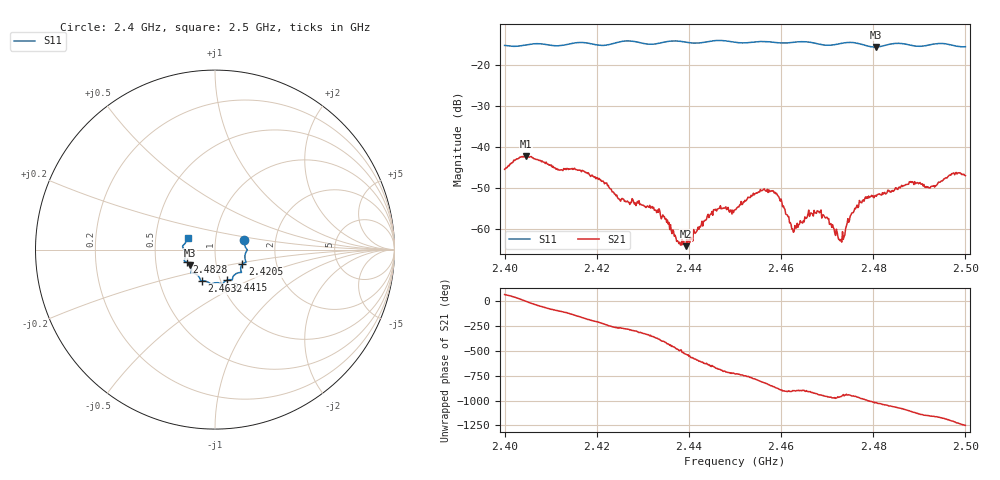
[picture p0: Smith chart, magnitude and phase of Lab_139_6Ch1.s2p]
# Hz S RI R 50
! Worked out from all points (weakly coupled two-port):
!   601 points, 2.4 GHz to 2.5 GHz, reference 50 ohm
!   highest |S21| = -42.32 dB at 2.4047 GHz (marker M1); lowest = -64.3 dB at 2.4393 GHz (marker M2)
!   lowest |S11| = -15.7 dB at 2.4805 GHz (marker M3), VSWR 1.39, Z = 37.3 - j6.7 ohm
!   |S11| at or under -10 dB: start of sweep to end of sweep
!   S12 and S22 are empty: the file has one direction only
!   S11 on the Smith chart (normalised r, x): 2.4 GHz: 1.38, +0.15; 2.4205 GHz: 1.34, -0.23; 2.4415 GHz: 1.07, -0.38; 2.4632 GHz: 0.82, -0.29; 2.4828 GHz: 0.72, -0.10; 2.5 GHz: 0.73, +0.10
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2.4e9  0.1637 0.052  0.00202 0.00489  0 0  0 0
2.404667e9  0.1745 0.00579  0.00766 -3.72e-05  0 0  0 0
2.416667e9  0.1729 -0.07  -0.00467 -0.0016  0 0  0 0
2.4205e9  0.1522 -0.0816  -0.00348 0.00215  0 0  0 0
2.425e9  0.1461 -0.1217  -0.000174 0.00223  0 0  0 0
2.433333e9  0.1002 -0.1515  0.00148 -0.000544  0 0  0 0
2.437833e9  0.0944 -0.1688  -0.000465 -0.000462  0 0  0 0
2.439333e9  0.0859 -0.1673  -0.000605 -7.48e-05  0 0  0 0
2.4415e9  0.0659 -0.1709  -0.00065 0.00062  0 0  0 0
2.445833e9  0.0413 -0.1926  0.00119 0.00124  0 0  0 0
2.45e9  0.0241 -0.1861  0.00166 -0.00032  0 0  0 0
2.454e9  -0.0109 -0.1881  0.00134 -0.00235  0 0  0 0
2.457833e9  -0.0306 -0.1865  -0.00192 -0.00217  0 0  0 0
2.463167e9  -0.0732 -0.1739  -0.00102 7.9e-05  0 0  0 0
2.466667e9  -0.0822 -0.167  -0.00145 0.000489  0 0  0 0
2.469833e9  -0.0978 -0.1425  -0.000743 0.00115  0 0  0 0
2.473e9  -0.1263 -0.1302  -0.000366 0.000638  0 0  0 0
2.4765e9  -0.1329 -0.1256  -0.000856 0.00173  0 0  0 0
2.4805e9  -0.1388 -0.0874  0.00121 0.00223  0 0  0 0
2.482833e9  -0.1587 -0.07  0.00218 0.00156  0 0  0 0
2.483333e9  -0.1626 -0.068  0.00263 0.0013  0 0  0 0
2.5e9  -0.1527 0.0642  -0.00435 -0.000757  0 0  0 0
